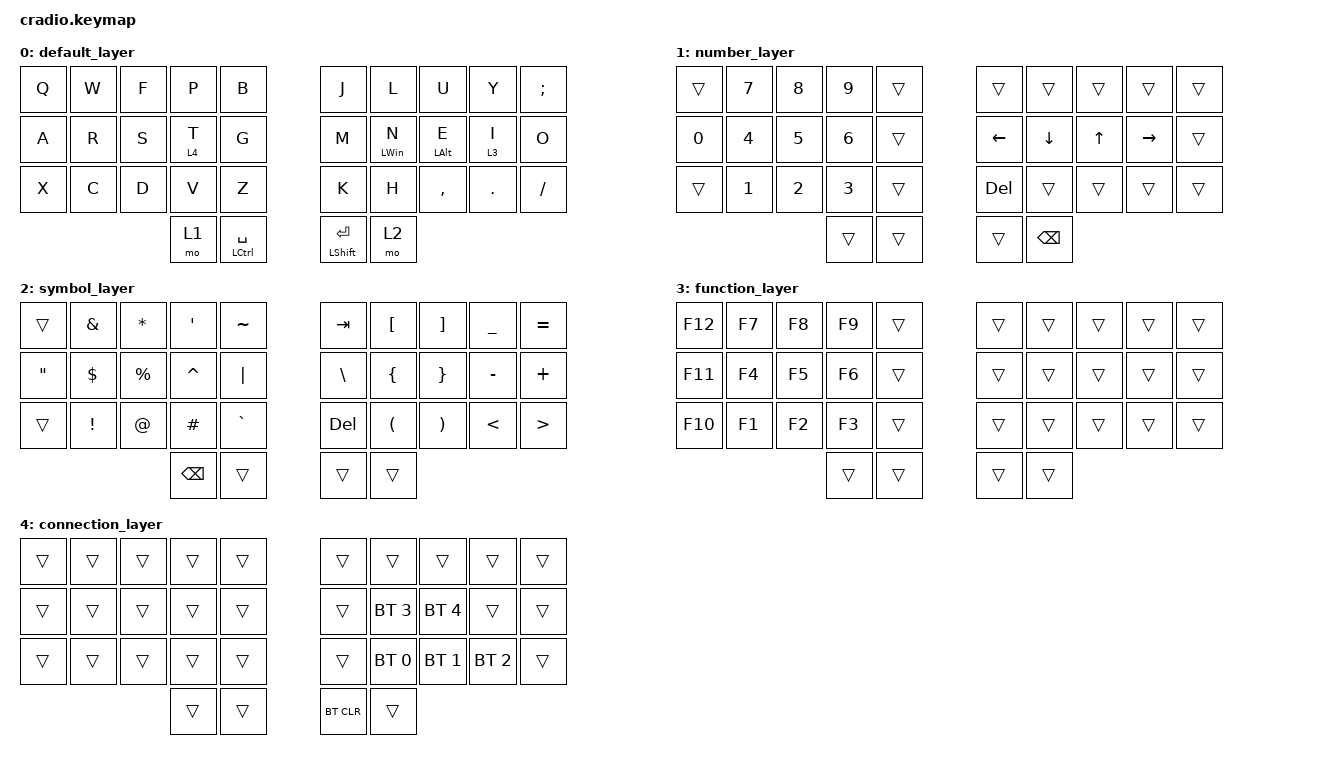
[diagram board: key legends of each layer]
// Copyright (c) 2022 The ZMK Contributors
// SPDX-License-Identifier: MIT

#include <behaviors.dtsi>
#include <dt-bindings/zmk/bt.h>
#include <dt-bindings/zmk/keys.h>

/ {
    behaviors {
        key_layer_behaviour: key_layer_behaviour {
            compatible = "zmk,behavior-hold-tap";
            label = "KEY_LAYER_BEHAVIOUR";
            bindings = <&mo>, <&kp>;

            #binding-cells = <2>;
            flavor = "tap-preferred";
            tapping-term-ms = <250>;
        };

        key_key_behaviour: key_key_behaviour {
            compatible = "zmk,behavior-hold-tap";
            label = "KEY_KEY_BEHAVIOUR";
            bindings = <&kp>, <&kp>;

            #binding-cells = <2>;
            retro-tap;
            tapping-term-ms = <0>;
        };

        key_key_timed_behaviour: key_key_timed_behaviour {
            compatible = "zmk,behavior-hold-tap";
            label = "KEY_KEY_TIMED_BEHAVIOUR";
            bindings = <&kp>, <&kp>;

            #binding-cells = <2>;
            tapping-term-ms = <200>;
            flavor = "tap-preferred";
        };
    };

    combos {
        compatible = "zmk,combos";

        escape {
            bindings = <&kp ESCAPE>;
            key-positions = <0 1>;
        };

        tab {
            bindings = <&kp TAB>;
            key-positions = <20 21>;
        };
    };

    keymap {
        compatible = "zmk,keymap";

        default_layer {
            bindings = <
&kp Q  &kp W  &kp F  &kp P                     &kp B                                          &kp J                                 &kp L                                &kp U                                &kp Y                     &kp SEMI
&kp A  &kp R  &kp S  &key_layer_behaviour 4 T  &kp G                                          &kp M                                 &key_key_timed_behaviour LEFT_WIN N  &key_key_timed_behaviour LEFT_ALT E  &key_layer_behaviour 3 I  &kp O
&kp X  &kp C  &kp D  &kp V                     &kp Z                                          &kp K                                 &kp H                                &kp COMMA                            &kp DOT                   &kp FSLH
                     &mo 1                     &key_key_timed_behaviour LEFT_CONTROL SPACE    &key_key_behaviour LEFT_SHIFT RETURN  &mo 2
            >;
        };

        number_layer {
            bindings = <
&trans        &kp N7  &kp N8  &kp N9  &trans    &trans      &trans         &trans  &trans     &trans
&kp NUMBER_0  &kp N4  &kp N5  &kp N6  &trans    &kp LEFT    &kp DOWN       &kp UP  &kp RIGHT  &trans
&trans        &kp N1  &kp N2  &kp N3  &trans    &kp DELETE  &trans         &trans  &trans     &trans
                              &trans  &trans    &trans      &kp BACKSPACE
            >;
        };

        symbol_layer {
            bindings = <
&trans             &kp AMPERSAND  &kp ASTERISK  &kp SQT        &kp TILDE    &kp TAB        &kp LBKT              &kp RBKT               &kp UNDERSCORE  &kp EQUAL
&kp DOUBLE_QUOTES  &kp DOLLAR     &kp PERCENT   &kp CARET      &kp PIPE     &kp BACKSLASH  &kp LEFT_BRACE        &kp RIGHT_BRACE        &kp MINUS       &kp PLUS
&trans             &kp EXCL       &kp AT_SIGN   &kp HASH       &kp GRAVE    &kp DELETE     &kp LEFT_PARENTHESIS  &kp RIGHT_PARENTHESIS  &kp LESS_THAN   &kp GREATER_THAN
                                                &kp BACKSPACE  &trans       &trans         &trans
            >;
        };

        function_layer {
            bindings = <
&kp F12  &kp F7  &kp F8  &kp F9  &trans    &trans  &trans  &trans  &trans  &trans
&kp F11  &kp F4  &kp F5  &kp F6  &trans    &trans  &trans  &trans  &trans  &trans
&kp F10  &kp F1  &kp F2  &kp F3  &trans    &trans  &trans  &trans  &trans  &trans
                         &trans  &trans    &trans  &trans
            >;
        };

        connection_layer {
            bindings = <
&trans  &trans  &trans  &trans  &trans    &trans      &trans        &trans        &trans        &trans
&trans  &trans  &trans  &trans  &trans    &trans      &bt BT_SEL 3  &bt BT_SEL 4  &trans        &trans
&trans  &trans  &trans  &trans  &trans    &trans      &bt BT_SEL 0  &bt BT_SEL 1  &bt BT_SEL 2  &trans
                        &trans  &trans    &bt BT_CLR  &trans
            >;
        };
    };
};
